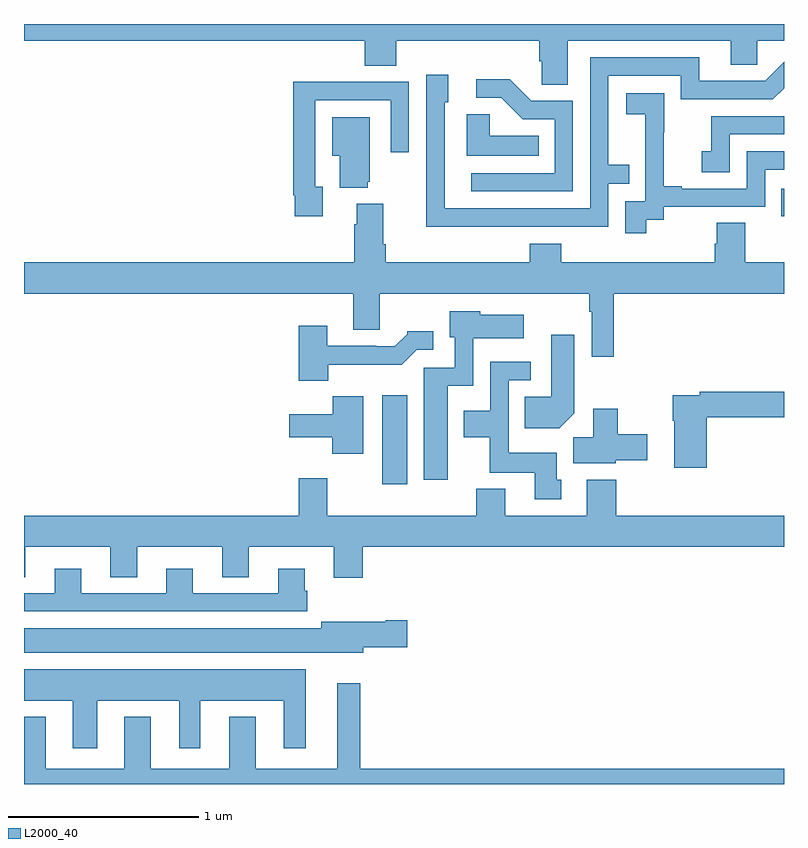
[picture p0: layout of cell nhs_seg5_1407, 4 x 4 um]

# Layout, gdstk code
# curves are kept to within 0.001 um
import gdstk
lib = gdstk.Library(unit=1e-6, precision=1e-09)
def R(c, l, rs):  # rectangles x0, y0, x1, y1
    for r in rs: c.add(gdstk.rectangle(r[:2], r[2:], *l))
def P(c, l, *ps):  # polygons
    for p in ps: c.add(gdstk.Polygon(p, *l))
L2000_40 = (2000, 40)

nhs_seg5_1407 = lib.new_cell('nhs_seg5_1407')
R(nhs_seg5_1407, L2000_40, [(196.886,902.376,197.017,902.845), (198.985,903.786,199,903.933)])
P(nhs_seg5_1407, L2000_40, [(197.863,904.712),(198.719,904.712),(198.719,904.585),(198.858,904.585),(198.858,904.712),(199,904.712),(199,904.799),(195,904.799),(195,904.712),(196.793,904.712),(196.793,904.579),(196.958,904.579),(196.958,904.712),(197.711,904.712),(197.711,904.603),(197.724,904.603),(197.724,904.48),(197.863,904.48)],
  [(197.579,903.732),(198.075,903.732),(198.075,903.957),(198.185,903.957),(198.185,904.058),(198.075,904.058),(198.075,904.527),(198.456,904.527),(198.456,904.404),(198.942,904.404),(199,904.462),(199,904.6),(198.9,904.5),(198.553,904.5),(198.553,904.623),(197.979,904.623),(197.979,903.828),(197.214,903.828),(197.214,904.386),(197.233,904.386),(197.233,904.531),(197.118,904.531),(197.118,904.037),(197.116,904.037),(197.116,903.731)],
  [(197.889,904.395),(197.67,904.395),(197.557,904.508),(197.379,904.508),(197.379,904.41),(197.513,904.41),(197.624,904.299),(197.793,904.299),(197.793,904.014),(197.355,904.014),(197.355,903.918),(197.889,903.918)],
  [(196.573,903.942),(196.533,903.942),(196.533,904.398),(196.929,904.398),(196.929,904.125),(197.025,904.125),(197.025,904.494),(196.709,904.494),(196.709,904.496),(196.417,904.496),(196.417,903.898),(196.425,903.898),(196.425,903.786),(196.573,903.786)],
  [(198.274,903.769),(198.366,903.769),(198.366,903.837),(198.9,903.837),(198.9,904.032),(199,904.032),(199,904.128),(198.804,904.128),(198.804,903.933),(198.463,903.933),(198.463,903.946),(198.368,903.946),(198.368,904.229),(198.369,904.229),(198.369,904.435),(198.171,904.435),(198.171,904.325),(198.269,904.325),(198.269,904.097),(198.27,904.097),(198.27,903.867),(198.165,903.867),(198.165,903.699),(198.274,903.699)],
  [(197.708,904.21),(197.451,904.21),(197.451,904.325),(197.33,904.325),(197.33,904.106),(197.708,904.106)],
  [(198.714,904.218),(199,904.218),(199,904.314),(198.616,904.314),(198.616,904.129),(198.567,904.129),(198.567,904.02),(198.714,904.02)],
  [(196.808,903.969),(196.819,903.969),(196.819,904.309),(196.622,904.309),(196.622,904.106),(196.661,904.106),(196.661,903.938),(196.808,903.938)],
  [(198.104,903.38),(199,903.38),(199,903.544),(198.795,903.544),(198.795,903.752),(198.647,903.752),(198.647,903.642),(198.635,903.642),(198.635,903.544),(197.828,903.544),(197.828,903.643),(197.663,903.643),(197.663,903.544),(196.904,903.544),(196.904,903.64),(196.891,903.64),(196.891,903.853),(196.751,903.853),(196.751,903.746),(196.739,903.746),(196.739,903.544),(195,903.544),(195,903.38),(196.733,903.38),(196.733,903.19),(196.873,903.19),(196.873,903.38),(197.976,903.38),(197.976,903.284),(197.988,903.284),(197.988,903.048),(198.104,903.048)],
  [(197.23,902.894),(197.364,902.894),(197.364,903.146),(197.629,903.146),(197.629,903.268),(197.4,903.268),(197.4,903.286),(197.24,903.286),(197.24,903.15),(197.268,903.15),(197.268,902.991),(197.105,902.991),(197.105,902.4),(197.23,902.4)],
  [(196.6,903.006),(196.989,903.006),(197.067,903.084),(197.155,903.084),(197.155,903.181),(197.016,903.181),(197.016,903.166),(196.952,903.102),(196.853,903.102),(196.853,903.105),(196.597,903.105),(196.597,903.211),(196.445,903.211),(196.445,902.921),(196.6,902.921)],
  [(197.896,902.75),(197.896,903.163),(197.774,903.163),(197.774,902.836),(197.635,902.836),(197.635,902.672),(197.818,902.672)],
  [(197.827,902.4),(197.803,902.4),(197.803,902.542),(197.55,902.542),(197.55,902.925),(197.668,902.925),(197.668,903.021),(197.454,903.021),(197.454,902.764),(197.315,902.764),(197.315,902.624),(197.452,902.624),(197.452,902.438),(197.687,902.438),(197.687,902.298),(197.827,902.298)],
  [(198.593,902.728),(199,902.728),(199,902.864),(198.556,902.864),(198.556,902.844),(198.415,902.844),(198.415,902.711),(198.422,902.711),(198.422,902.463),(198.593,902.463)],
  [(196.786,902.839),(196.624,902.839),(196.624,902.746),(196.395,902.746),(196.395,902.624),(196.622,902.624),(196.622,902.538),(196.786,902.538)],
  [(198.114,902.504),(198.28,902.504),(198.28,902.639),(198.126,902.639),(198.126,902.773),(197.996,902.773),(197.996,902.624),(197.891,902.624),(197.891,902.486),(198.114,902.486)],
  [(196.784,902.048),(199,902.048),(199,902.212),(198.116,902.212),(198.116,902.401),(197.963,902.401),(197.963,902.212),(197.533,902.212),(197.533,902.353),(197.381,902.353),(197.381,902.212),(196.597,902.212),(196.597,902.407),(196.445,902.407),(196.445,902.212),(195,902.212),(195,901.888),(195.007,901.888),(195.007,902.048),(195.455,902.048),(195.455,901.888),(195.595,901.888),(195.595,902.048),(196.043,902.048),(196.043,901.888),(196.183,901.888),(196.183,902.048),(196.631,902.048),(196.631,901.884),(196.784,901.884)],
  [(196.49,901.815),(196.477,901.815),(196.477,901.933),(196.337,901.933),(196.337,901.803),(195.889,901.803),(195.889,901.933),(195.749,901.933),(195.749,901.803),(195.301,901.803),(195.301,901.933),(195.161,901.933),(195.161,901.803),(195,901.803),(195,901.707),(196.49,901.707)],
  [(196.786,901.52),(197.017,901.52),(197.017,901.662),(196.904,901.662),(196.904,901.654),(196.565,901.654),(196.565,901.618),(195,901.618),(195,901.49),(196.786,901.49)],
  [(195.385,901.238),(195.818,901.238),(195.818,900.987),(195.928,900.987),(195.928,901.238),(196.367,901.238),(196.367,900.987),(196.483,900.987),(196.483,901.402),(195,901.402),(195,901.238),(195.257,901.238),(195.257,900.987),(195.385,900.987)],
  [(199,900.88),(196.771,900.88),(196.771,901.33),(196.649,901.33),(196.649,900.88),(196.219,900.88),(196.219,901.153),(196.079,901.153),(196.079,900.88),(195.667,900.88),(195.667,901.153),(195.527,901.153),(195.527,900.88),(195.115,900.88),(195.115,901.153),(195,901.153),(195,900.799),(199,900.799)])

lib.write_gds('nhs_seg5_1407.gds')
